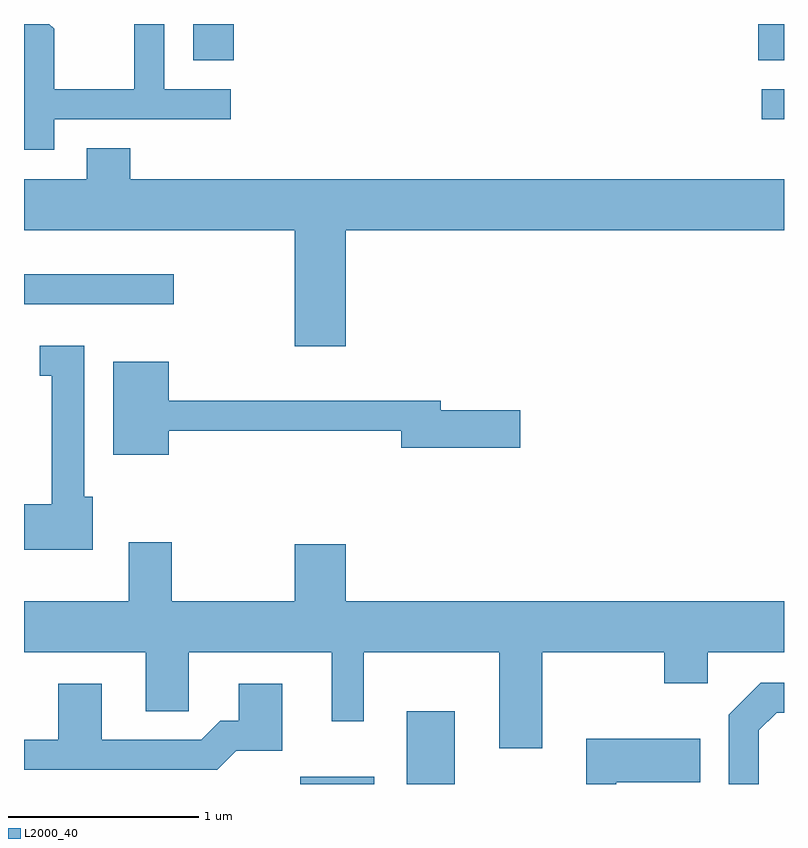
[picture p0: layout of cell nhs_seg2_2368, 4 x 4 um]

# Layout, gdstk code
import gdstk
lib = gdstk.Library(unit=1e-6, precision=1e-09)
def R(c, l, rs):  # rectangles x0, y0, x1, y1
    for r in rs: c.add(gdstk.rectangle(r[:2], r[2:], *l))
def P(c, l, *ps):  # polygons
    for p in ps: c.add(gdstk.Polygon(p, *l))
L2000_40 = (2000, 40)

nhs_seg2_2368 = lib.new_cell('nhs_seg2_2368')
R(nhs_seg2_2368, L2000_40, [(255.066,1089.802,255.454,1089.839), (255.626,1089.802,255.879,1090.184), (253.611,1092.326,254.398,1092.484), (257.493,1093.301,257.611,1093.459), (254.501,1093.611,254.714,1093.802), (257.476,1093.611,257.611,1093.802)])
P(nhs_seg2_2368, L2000_40, [(253.769,1093.301),(254.698,1093.301),(254.698,1093.459),(254.349,1093.459),(254.349,1093.802),(254.191,1093.802),(254.191,1093.459),(253.769,1093.459),(253.769,1093.777),(253.744,1093.802),(253.611,1093.802),(253.611,1093.141),(253.769,1093.141)],
  [(255.304,1092.716),(257.611,1092.716),(257.611,1092.984),(254.169,1092.984),(254.169,1093.149),(253.941,1093.149),(253.941,1092.984),(253.611,1092.984),(253.611,1092.716),(255.036,1092.716),(255.036,1092.106),(255.304,1092.106)],
  [(253.974,1091.314),(253.929,1091.314),(253.929,1092.109),(253.693,1092.109),(253.693,1091.951),(253.756,1091.951),(253.756,1091.274),(253.611,1091.274),(253.611,1091.036),(253.974,1091.036)],
  [(254.374,1091.661),(255.596,1091.661),(255.596,1091.571),(256.224,1091.571),(256.224,1091.769),(255.804,1091.769),(255.804,1091.819),(254.374,1091.819),(254.374,1092.024),(254.081,1092.024),(254.081,1091.536),(254.374,1091.536)],
  [(256.339,1090.496),(256.981,1090.496),(256.981,1090.331),(257.209,1090.331),(257.209,1090.496),(257.611,1090.496),(257.611,1090.764),(255.304,1090.764),(255.304,1091.064),(255.036,1091.064),(255.036,1090.764),(254.389,1090.764),(254.389,1091.074),(254.161,1091.074),(254.161,1090.764),(253.611,1090.764),(253.611,1090.496),(254.251,1090.496),(254.251,1090.186),(254.479,1090.186),(254.479,1090.496),(255.231,1090.496),(255.231,1090.133),(255.399,1090.133),(255.399,1090.496),(256.111,1090.496),(256.111,1089.991),(256.339,1089.991)],
  [(257.479,1090.084),(257.572,1090.176),(257.611,1090.176),(257.611,1090.334),(257.489,1090.334),(257.321,1090.167),(257.321,1089.802),(257.479,1089.802)],
  [(254.727,1089.976),(254.969,1089.976),(254.969,1090.329),(254.741,1090.329),(254.741,1090.134),(254.644,1090.134),(254.544,1090.034),(254.019,1090.034),(254.019,1090.329),(253.791,1090.329),(253.791,1090.034),(253.611,1090.034),(253.611,1089.876),(254.627,1089.876)],
  [(256.729,1089.811),(257.169,1089.811),(257.169,1090.039),(256.571,1090.039),(256.571,1089.802),(256.729,1089.802)])

lib.write_gds('nhs_seg2_2368.gds')
